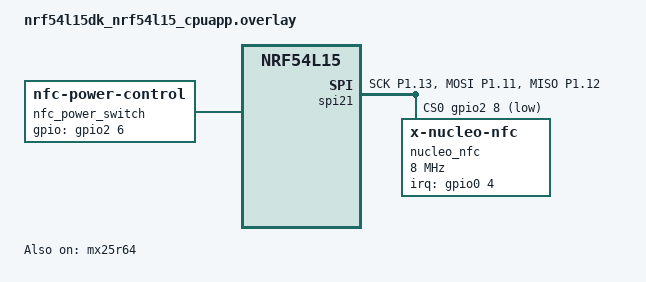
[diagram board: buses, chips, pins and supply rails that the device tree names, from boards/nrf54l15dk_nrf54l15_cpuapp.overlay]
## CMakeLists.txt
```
#
# Copyright (c) 2025 Nordic Semiconductor ASA
#
# SPDX-License-Identifier: LicenseRef-Nordic-5-Clause
#

cmake_minimum_required(VERSION 3.20.0)

find_package(Zephyr REQUIRED HINTS $ENV{ZEPHYR_BASE})
project(door-lock-app)

include(${CMAKE_CURRENT_LIST_DIR}/../../cmake/tsrr250_nxp_overrides.cmake)
tsrr250_apply_nxp_overrides(
  ${CMAKE_CURRENT_LIST_DIR}/../../subsys/aliro/uwb/tsrr250_impl/nxp_overrides
)

if(CONFIG_DOOR_LOCK_CREDENTIAL_ISSUER_CA)
  target_sources(app PRIVATE
    ${ZEPHYR_MBEDTLS_MODULE_DIR}/library/x509.c
    ${ZEPHYR_MBEDTLS_MODULE_DIR}/library/x509_crt.c
    ${ZEPHYR_MBEDTLS_MODULE_DIR}/library/x509_oid.c
  )
  target_include_directories(app PRIVATE
    ${ZEPHYR_MBEDTLS_MODULE_DIR}/include
    ${ZEPHYR_MBEDTLS_MODULE_DIR}/library
    ${ZEPHYR_OBERON_PSA_CRYPTO_MODULE_DIR}/extras
    ${ZEPHYR_OBERON_PSA_CRYPTO_MODULE_DIR}/legacy_sub/include
    ${ZEPHYR_OBERON_PSA_CRYPTO_MODULE_DIR}/legacy_sub/src
  )
endif()

add_subdirectory(src/aliro)

file(GLOB app_sources CONFIGURE_DEPENDS src/*.cpp)
target_sources(app PRIVATE ${app_sources})
target_include_directories(app PRIVATE src)
```

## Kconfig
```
#
# Copyright (c) 2025 Nordic Semiconductor ASA
#
# SPDX-License-Identifier: LicenseRef-Nordic-5-Clause
#

mainmenu "nRF Door Lock and Access Control Add-on"

module = DOOR_LOCK_APP
module-str = NCS_DOOR_LOCK_APP
module-dep = LOG
module-help = Enables nRF Connect SDK Door Lock Application log messages.
source "$(ZEPHYR_BASE)/subsys/logging/Kconfig.template.log_config"

config DOOR_LOCK_CLI
	bool "CLI support"
	default y
	select SHELL
	select REBOOT
	select DOOR_LOCK_ALIRO_READER_STORAGE_SHELL
	select DOOR_LOCK_ALIRO_READER_STORAGE_SHELL_CORE
	help
	  Enable support for Door Lock CLI.

config DOOR_LOCK_RELEASE
    bool "Release configuration"
    help
      In this configuration:
      Aliro stack logs are disabled.
      RFAL NFC driver logs are disabled.
      Device reset automatically on fatal error.

rsource "src/Kconfig"

rsource "Kconfig.defconfig"

# Source BLE defconfig when any BLE feature is enabled
if DOOR_LOCK_BLE_UWB || DOOR_LOCK_DFU_SMP_SERVICE || DOOR_LOCK_NUS_SERVICE
rsource "Kconfig.ble.defconfig"
endif # DOOR_LOCK_BLE_UWB || DOOR_LOCK_DFU_SMP_SERVICE || DOOR_LOCK_NUS_SERVICE

if DOOR_LOCK_DFU_SMP_SERVICE
rsource "Kconfig.dfu.defconfig"
endif # DOOR_LOCK_DFU_SMP_SERVICE

if DOOR_LOCK_WIFI
rsource "Kconfig.wifi.defconfig"
endif # DOOR_LOCK_WIFI

rsource "Kconfig.crypto.defconfig"

source "Kconfig.zephyr"
```

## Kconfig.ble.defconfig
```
#
# Copyright (c) 2025 Nordic Semiconductor ASA
#
# SPDX-License-Identifier: LicenseRef-Nordic-5-Clause
#

config BT
	default y

config BT_PERIPHERAL
	default y

config BT_SMP
	default y

config BT_PHY_UPDATE
	default n

config BT_BUF_ACL_RX_SIZE
	default 502 if DOOR_LOCK_DFU_SMP_SERVICE
	default 271

config BT_BUF_ACL_TX_SIZE
	default 271

config BT_L2CAP_TX_MTU
	default 498 if DOOR_LOCK_DFU_SMP_SERVICE
	default 267

config BT_BUF_ACL_TX_COUNT
	default BT_MAX_CONN if DOOR_LOCK_BLE_UWB

config BT_BUF_ACL_RX_COUNT_EXTRA
	default BT_MAX_CONN if DOOR_LOCK_BLE_UWB

config BT_GATT_DYNAMIC_DB
	default y

config BT_GATT_ENFORCE_SUBSCRIPTION
	default y

config BT_GATT_SERVICE_CHANGED
	default y

config BT_L2CAP_DYNAMIC_CHANNEL
	default y

config BT_CTLR_TX_PWR_DYNAMIC_CONTROL
	default y if !SOC_NRF5340_CPUAPP

config BT_BONDABLE
	default n

config BT_ID_MAX
	default 2 if DOOR_LOCK_BLE_UWB
	default 1

config BT_EXT_ADV
	default y if DOOR_LOCK_BLE_UWB
	default n

config BT_EXT_ADV_MAX_ADV_SET
	default 2 if DOOR_LOCK_BLE_UWB
	default 1

config BT_MAX_CONN
	default 6 if DOOR_LOCK_BLE_UWB && (DOOR_LOCK_NUS_SERVICE || DOOR_LOCK_DFU_SMP_SERVICE)
	default 5 if DOOR_LOCK_BLE_UWB
	default 1
```

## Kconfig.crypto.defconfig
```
#
# Copyright (c) 2026 Nordic Semiconductor ASA
#
# SPDX-License-Identifier: LicenseRef-Nordic-5-Clause
#

config PSA_CRYPTO
	default y

config MBEDTLS_ENABLE_HEAP
	default y

config MBEDTLS_HEAP_SIZE
	default 8192

#   NFC+5xBLE/UWB:      (16+ 5*11) slots ->  72
#   NFC:                9 slots ->  16 (with margin)
config MBEDTLS_PSA_KEY_SLOT_COUNT
	default 72 if DOOR_LOCK_BLE_UWB
	default 16
```

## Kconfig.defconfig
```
#
# Copyright (c) 2025 Nordic Semiconductor ASA
#
# SPDX-License-Identifier: LicenseRef-Nordic-5-Clause
#

config BT_DEVICE_NAME
	default "AliroDL"

config NCS_ALIRO_LIB
	default y

config TRUSTED_STORAGE
	default y

config MBEDTLS_PSA_CRYPTO_STORAGE_C
	default y

choice TRUSTED_STORAGE_BACKEND_AEAD_KEY
	default TRUSTED_STORAGE_BACKEND_AEAD_KEY_HASH_UID if SOC_SERIES_NRF52
	default TRUSTED_STORAGE_BACKEND_AEAD_KEY_DERIVE_FROM_HUK
endchoice

config HW_UNIQUE_KEY_WRITE_ON_CRYPTO_INIT
	default y if (SOC_NRF5340_CPUAPP || SOC_SERIES_NRF54L)

# required by Aliro persistent storage
config FLASH
	default y

config FLASH_MAP
	default y

config NVS
	default y if !SOC_FLASH_NRF_RRAM

config NVS_LOOKUP_CACHE_SIZE
	default 512 if NVS

config NVS_LOOKUP_CACHE_FOR_SETTINGS
	default y if SETTINGS_NVS

config ZMS
	default y if SOC_FLASH_NRF_RRAM

config ZMS_LOOKUP_CACHE_SIZE
	default 512 if SETTINGS_ZMS

config ZMS_LOOKUP_CACHE_FOR_SETTINGS
	default y if SETTINGS_ZMS

config SETTINGS
	default y

config EVENTS
	default y

choice NVS_LOG_LEVEL_CHOICE
	default NVS_LOG_LEVEL_ERR
endchoice

choice ZMS_LOG_LEVEL_CHOICE
	default ZMS_LOG_LEVEL_ERR
endchoice

choice SETTINGS_LOG_LEVEL_CHOICE
	default SETTINGS_LOG_LEVEL_ERR
endchoice

choice LIBC_IMPLEMENTATION
    default PICOLIBC
endchoice

choice POSIX_SYSCONF_IMPL_CHOICE
    default POSIX_SYSCONF_IMPL_MACRO if PICOLIBC
endchoice

config SHELL_CMD_BUFF_SIZE
	# Shell buffer must fit: "reader certificate set " (23 chars) + hex string (2 * cert size)
	# For 512 byte cert: 23 + 1024 = 1047
	default 1047 if DOOR_LOCK_ALIRO_READER_STORAGE_SHELL_CERT
	default 256

config MAIN_STACK_SIZE
	default 4096

config HEAP_MEM_POOL_SIZE
	default 4096

config SYSTEM_WORKQUEUE_STACK_SIZE
	default 2048

config DOOR_LOCK_ALIRO_CRYPTO_UTILS
	default y

config DOOR_LOCK_SETTINGS_UTILS
	default y

config DOOR_LOCK_ALIRO_WORKQUEUE
	default y

config NFC_DRIVER_STM
	default y

configdefault DOOR_LOCK_ALIRO_NFC_TRANSPORT
	default y

configdefault DOOR_LOCK_ALIRO_INTERFACE_IMPL_OS
	default y

configdefault DOOR_LOCK_ALIRO_INTERFACE_IMPL_LOG
	default y

configdefault DOOR_LOCK_ALIRO_INTERFACE_IMPL_UWB
	default y if DOOR_LOCK_BLE_UWB

configdefault DOOR_LOCK_ALIRO_INTERFACE_IMPL_READER
	default y

configdefault DOOR_LOCK_ALIRO_INTERFACE_IMPL_CRYPTO
	default y

configdefault DOOR_LOCK_ALIRO_INTERFACE_IMPL_CI_CERT
	default y

configdefault DOOR_LOCK_ALIRO_INTERFACE_IMPL_CI_CERT_VALIDATION
	default y if DOOR_LOCK_CREDENTIAL_ISSUER_CA

configdefault DOOR_LOCK_ALIRO_INTERFACE_IMPL_OS_BLE_STACK_TIMERS
	default DOOR_LOCK_BLE_UWB_MAX_SESSIONS if DOOR_LOCK_BLE_UWB

config DOOR_LOCK_ALIRO_READER_STORAGE
	default y

configdefault DOOR_LOCK_BLE_UWB_MAX_SESSIONS
	default 1 if DOOR_LOCK_BLE_UWB

configdefault DOOR_LOCK_ALIRO_L2CAP_SERVER_MAX_SESSIONS
	default DOOR_LOCK_BLE_UWB_MAX_SESSIONS if DOOR_LOCK_BLE_UWB

configdefault DOOR_LOCK_ALIRO_BLE_SERVICE_MAX_SESSIONS
	default DOOR_LOCK_BLE_UWB_MAX_SESSIONS if DOOR_LOCK_BLE_UWB

configdefault DOOR_LOCK_BLE_MANAGER
	default y

configdefault DOOR_LOCK_BLE_MANAGER_INIT
	default y
```

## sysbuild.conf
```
#
# Copyright (c) 2026 Nordic Semiconductor
#
# SPDX-License-Identifier: LicenseRef-Nordic-5-Clause
#

SB_CONFIG_MATTER_ADD_ON=n

SB_CONFIG_MERGED_HEX_FILES=y
```

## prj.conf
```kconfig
#
# Copyright (c) 2025 Nordic Semiconductor ASA
#
# SPDX-License-Identifier: LicenseRef-Nordic-5-Clause
#

#
# Aliro
#

CONFIG_NCS_ALIRO=y
CONFIG_DOOR_LOCK_ALIRO_LOCK_SIM=y
CONFIG_DOOR_LOCK_DFU_SMP_SERVICE=y

# Basic system configuration
CONFIG_CPP=y
CONFIG_STD_CPP17=y
CONFIG_REQUIRES_FULL_LIBCPP=y
CONFIG_RESET_ON_FATAL_ERROR=n
CONFIG_ASSERT=y
CONFIG_MPU_STACK_GUARD=y
CONFIG_SYS_HEAP_RUNTIME_STATS=y

# Stack sizes
CONFIG_SYSTEM_WORKQUEUE_STACK_SIZE=3072
CONFIG_SHELL_STACK_SIZE=4096

# Logging
CONFIG_CONSOLE=y
CONFIG_LOG=y
CONFIG_LOG_MODE_DEFERRED=y
CONFIG_LOG_BUFFER_SIZE=4096
CONFIG_DOOR_LOCK_ALIRO_NFC_TRANSPORT_LOG_LEVEL_DBG=y
CONFIG_DOOR_LOCK_ALIRO_UWB_LOG_LEVEL_INF=y
CONFIG_USE_SEGGER_RTT=n
CONFIG_LOG_BACKEND_RTT=n
CONFIG_LOG_BACKEND_SHOW_COLOR=n
CONFIG_DOOR_LOCK_APP_LOG_LEVEL_INF=y
CONFIG_DOOR_LOCK_DFU_SMP_SERVICE_LOG_LEVEL_DBG=y
CONFIG_BT_HCI_CORE_LOG_LEVEL_ERR=y
CONFIG_BT_HCI_DRIVER_LOG_LEVEL_ERR=y

# Disable unused shell features
CONFIG_SHELL_VT100_COLORS=n
CONFIG_SHELL_HISTORY=n
CONFIG_SHELL_WILDCARD=n

# Set shell configuration
CONFIG_SHELL_MINIMAL=n
CONFIG_SHELL_DEVICE_HELPERS=y

# Increase shell buffer sizes
CONFIG_SHELL_BACKEND_SERIAL_RX_RING_BUFFER_SIZE=2048
CONFIG_SHELL_BACKEND_SERIAL_TX_RING_BUFFER_SIZE=1024

# Adjust logs queue size
CONFIG_SHELL_BACKEND_SERIAL_LOG_MESSAGE_QUEUE_SIZE=2048

# Workaround for Murata issue:
# https://github.com/aliro-access-control/aliro-actuator/issues/114
CONFIG_BT_GAP_AUTO_UPDATE_CONN_PARAMS=n

# Suspend devices when the CPU goes into sleep
CONFIG_PM_DEVICE=y
CONFIG_PM_DEVICE_RUNTIME=y

CONFIG_STREAM_FLASH=y
CONFIG_IMG_MANAGER=y

# Try to disable unused RAM blocks to reduce power consumption
CONFIG_RAM_POWER_DOWN_LIBRARY=y
```

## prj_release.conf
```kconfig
#
# Copyright (c) 2025 Nordic Semiconductor ASA
#
# SPDX-License-Identifier: LicenseRef-Nordic-5-Clause
#

#
# Aliro
#

CONFIG_NCS_ALIRO=y
CONFIG_DOOR_LOCK_ALIRO_LOCK_SIM=y
CONFIG_DOOR_LOCK_DFU_SMP_SERVICE=y

CONFIG_NCS_ALIRO_RELEASE=y

CONFIG_DOOR_LOCK_RELEASE=y

# Basic system configuration
CONFIG_CPP=y
CONFIG_STD_CPP17=y
CONFIG_REQUIRES_FULL_LIBCPP=y

# Stack sizes
CONFIG_SYSTEM_WORKQUEUE_STACK_SIZE=3072

#logging
CONFIG_LOG=n
CONFIG_USE_SEGGER_RTT=n

# Workaround for Murata issue:
# https://github.com/aliro-access-control/aliro-actuator/issues/114
CONFIG_BT_GAP_AUTO_UPDATE_CONN_PARAMS=n

# Suspend devices when the CPU goes into sleep
CONFIG_PM_DEVICE=y
CONFIG_PM_DEVICE_RUNTIME=y

# Try to disable unused RAM blocks to reduce power consumption
CONFIG_RAM_POWER_DOWN_LIBRARY=y


CONFIG_ASSERT=n
CONFIG_ASSERT_VERBOSE=n
CONFIG_ASSERT_NO_FILE_INFO=y

CONFIG_RESET_ON_FATAL_ERROR=y

CONFIG_UART_CONSOLE=n
CONFIG_LOG_MODE_MINIMAL=n
CONFIG_SHELL_STACK_SIZE=4096

CONFIG_THREAD_NAME=n
CONFIG_BOOT_BANNER=n
CONFIG_NCS_BOOT_BANNER=n
CONFIG_PRINTK=n
CONFIG_PRINTK_SYNC=n
```

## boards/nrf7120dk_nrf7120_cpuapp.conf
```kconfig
#
# Copyright (c) 2026 Nordic Semiconductor ASA
#
# SPDX-License-Identifier: LicenseRef-Nordic-5-Clause
#

CONFIG_FLASH_MSPI_NOR=y
CONFIG_FLASH_MSPI_NOR_LAYOUT_PAGE_SIZE=4096

# Wi-Fi station
CONFIG_DOOR_LOCK_WIFI=y
CONFIG_WIFI_NRF71_PATCH=y

# Lower System ON idle current: see lib_nrf71_idle_power. Keep the
# default RAM_RETAIN_FULL tier; RAM_RETAIN_USED_ONLY has been observed
# to cause issues on Wi-Fi builds.
CONFIG_NRF71_IDLE_POWER=y
```

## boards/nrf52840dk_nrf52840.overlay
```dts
/*
 * Copyright (c) 2025 Nordic Semiconductor ASA
 *
 * SPDX-License-Identifier: LicenseRef-Nordic-5-Clause
 */

#include <door_lock/common/nrf52840_partitions.dtsi>

&pinctrl {
	spi0_default_alt: spi0_default_alt {
		group1 {
			psels = <NRF_PSEL(SPIM_SCK, 1, 15)>,
				<NRF_PSEL(SPIM_MOSI, 1, 13)>,
				<NRF_PSEL(SPIM_MISO, 1, 14)>;
		};
	};

	spi0_sleep_alt: spi0_sleep_alt {
		group1 {
			psels = <NRF_PSEL(SPIM_SCK, 1, 15)>,
				<NRF_PSEL(SPIM_MOSI, 1, 13)>,
				<NRF_PSEL(SPIM_MISO, 1, 14)>;
			low-power-enable;
		};
	};
};

&spi0 {
	compatible = "nordic,nrf-spi";
	status = "okay";
	cs-gpios = <&gpio1 12 GPIO_ACTIVE_LOW>;

	pinctrl-0 = <&spi0_default_alt>;
	pinctrl-1 = <&spi0_sleep_alt>;
	pinctrl-names = "default", "sleep";

	nucleo_nfc@0 {
		compatible = "x-nucleo-nfc";
		reg = <0>;
		spi-max-frequency = <DT_FREQ_M(8)>;
		spi-cs-setup-delay-ns = <1000>;
		spi-cs-hold-delay-ns = <1000>;
		irq-gpios = <&gpio0 3 GPIO_ACTIVE_HIGH>;
		reset-gpios = <&gpio1 10 (GPIO_ACTIVE_LOW | GPIO_PULL_DOWN)>;
	};
};

&spi1 {
	status = "disabled";
};

&spi2 {
	status = "disabled";
};

&spi3 {
	status = "disabled";
};

/ {
	chosen {
		nordic,pm-ext-flash = &mx25r64;
	};

	aliases {
		lock-sim-indicator = &led1; /* green LED2 on nRF52840DK */
		dfu-smp-button = &button0; /* Button 1 on nRF52840DK */
	};
};

&mx25r64 {
	status = "okay";
};

&gpio0 {
	status = "okay";
	/* Use PORT event rather than GPIOTE IN event, to save power */
	sense-edge-mask = <0x00000008>; /* P0.03 */
};
```

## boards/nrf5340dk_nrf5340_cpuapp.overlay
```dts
/*
 * Copyright (c) 2025 Nordic Semiconductor ASA
 *
 * SPDX-License-Identifier: LicenseRef-Nordic-5-Clause
 */

#include <door_lock/common/nrf5340_cpuapp_partitions.dtsi>

/ {
	chosen {
		nordic,pm-ext-flash = &mx25r64;
	};

	aliases {
		lock-sim-indicator = &led1; /* green LED2 on nRF5340DK */
		dfu-smp-button = &button0; /* Button 1 on nRF5340DK */
	};
};

&pinctrl {
	spi1_default_alt: spi1_default_alt {
		group1 {
			psels = <NRF_PSEL(SPIM_SCK, 1, 15)>,
				<NRF_PSEL(SPIM_MOSI, 1, 13)>,
				<NRF_PSEL(SPIM_MISO, 1, 14)>;
		};
	};

	spi1_sleep_alt: spi1_sleep_alt {
		group1 {
			psels = <NRF_PSEL(SPIM_SCK, 1, 15)>,
				<NRF_PSEL(SPIM_MOSI, 1, 13)>,
				<NRF_PSEL(SPIM_MISO, 1, 14)>;
			low-power-enable;
		};
	};
};

&spi1 {
	compatible = "nordic,nrf-spim";
	status = "okay";
	cs-gpios = <&gpio1 12 GPIO_ACTIVE_LOW>;

	pinctrl-0 = <&spi1_default_alt>;
	pinctrl-1 = <&spi1_sleep_alt>;
	pinctrl-names = "default", "sleep";

	nucleo_nfc@0 {
		compatible = "x-nucleo-nfc";
		reg = <0>;
		spi-max-frequency = <DT_FREQ_M(4)>;
		spi-cs-setup-delay-ns = <1000>;
		spi-cs-hold-delay-ns = <1000>;
		irq-gpios = <&gpio0 4 GPIO_ACTIVE_HIGH>;
		reset-gpios = <&gpio1 10 (GPIO_ACTIVE_LOW | GPIO_PULL_DOWN)>;
	};
};

&mx25r64 {
	status = "okay";

	partitions {
		external_nvs_partition: partition@12f000 {
			label = "external-nvs";
			reg = <0x0012f000 DT_SIZE_K(128)>;
		};
	};
};

&gpio0 {
	status = "okay";
	/* Use PORT event rather than GPIOTE IN event, to save power */
	sense-edge-mask = <0x00000010>; /* P0.04 */
};
```

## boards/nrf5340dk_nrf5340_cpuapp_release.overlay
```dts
/*
 * Copyright (c) 2025 Nordic Semiconductor ASA
 *
 * SPDX-License-Identifier: LicenseRef-Nordic-5-Clause
 */

#include "nrf5340dk_nrf5340_cpuapp.overlay"

&uart1 {
	status = "disabled";
};

&adc {
	status = "disabled";
};

&i2c1 {
	status = "disabled";
};

&pwm0 {
	status = "disabled";
};

&nfct {
	status = "disabled";
};

&usbd {
	status = "disabled";
};

&spi4 {
	status = "disabled";
};
```

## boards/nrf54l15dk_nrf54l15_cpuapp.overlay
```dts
/*
 * Copyright (c) 2025 Nordic Semiconductor ASA
 *
 * SPDX-License-Identifier: LicenseRef-Nordic-5-Clause
 */

#include <door_lock/common/nrf54l15_cpuapp_partitions.dtsi>

/ {
	/* Disable buttons to avoid collision with interrupt and SCK pins for NFC tag reader.
	 * It also allows to use the button with the same label (1) on all supported dev kits.
	 */
	buttons {
		/delete-node/ button_0;
		/delete-node/ button_3;
	};

	leds {
		/delete-node/ led_0;
	};

	aliases {
		/delete-property/ sw0;
		/delete-property/ sw3;
		/delete-property/ led0;
		/delete-property/ mcuboot-led0;
		mcuboot-button0 = &button1;
		lock-sim-indicator = &led2; /* green LED2 on nRF54L15DK */
		dfu-smp-button = &button1;
	};

	nfc_power_switch: nfc_power_switch {
		status = "okay";
		compatible = "nfc-power-control";
		gpios = <&gpio2 6 GPIO_ACTIVE_HIGH>;
	};

	chosen {
		nordic,pm-ext-flash = &mx25r64;
	};
};

&pinctrl {
	spi21_default: spi21_default {
		group1 {
			psels = <NRF_PSEL(SPIM_SCK, 1, 13)>,
				<NRF_PSEL(SPIM_MOSI, 1, 11)>,
				<NRF_PSEL(SPIM_MISO, 1, 12)>;
		};
	};

	spi21_sleep: spi21_sleep {
		group1 {
			psels = <NRF_PSEL(SPIM_SCK, 1, 13)>,
				<NRF_PSEL(SPIM_MOSI, 1, 11)>,
				<NRF_PSEL(SPIM_MISO, 1, 12)>;
			low-power-enable;
		};
	};
};

&spi21 {
	compatible = "nordic,nrf-spim";
	status = "okay";
	cs-gpios = <&gpio2 8 GPIO_ACTIVE_LOW>;

	pinctrl-0 = <&spi21_default>;
	pinctrl-1 = <&spi21_sleep>;
	pinctrl-names = "default", "sleep";

	nucleo_nfc@0 {
		compatible = "x-nucleo-nfc";
		reg = <0>;
		spi-max-frequency = <DT_FREQ_M(8)>;
		spi-cs-setup-delay-ns = <1000>;
		spi-cs-hold-delay-ns = <1000>;
		irq-gpios = <&gpio0 4 GPIO_ACTIVE_HIGH>;
	};
};

&gpio0 {
	status = "okay";
};

&gpio1 {
	status = "okay";
};

&gpio2 {
	status = "okay";
};

&mx25r64 {
	status = "okay";

	partitions {
		external_nvs_partition: partition@165000 {
			label = "external-nvs";
			reg = <0x00165000 DT_SIZE_K(128)>;
		};
	};
};

&gpio0 {
	status = "okay";
	/* Use PORT event rather than GPIOTE IN event, to save power */
	sense-edge-mask = <0x00000010>; /* P0.04 */
};
```

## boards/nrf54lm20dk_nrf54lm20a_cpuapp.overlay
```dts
/*
 * Copyright (c) 2025 Nordic Semiconductor ASA
 *
 * SPDX-License-Identifier: LicenseRef-Nordic-5-Clause
 */

#include <door_lock/common/nrf54lm20_cpuapp_partitions.dtsi>

&pinctrl {
	spi21_default: spi21_default {
		group1 {
			psels = <NRF_PSEL(SPIM_SCK, 1, 13)>,
				<NRF_PSEL(SPIM_MOSI, 1, 11)>,
				<NRF_PSEL(SPIM_MISO, 1, 12)>;
		};
	};

	spi21_sleep: spi21_sleep {
		group1 {
			psels = <NRF_PSEL(SPIM_SCK, 1, 13)>,
				<NRF_PSEL(SPIM_MOSI, 1, 11)>,
				<NRF_PSEL(SPIM_MISO, 1, 12)>;
			low-power-enable;
		};
	};
};

&spi21 {
	compatible = "nordic,nrf-spim";
	status = "okay";
	cs-gpios = <&gpio1 10 GPIO_ACTIVE_LOW>;

	pinctrl-0 = <&spi21_default>;
	pinctrl-1 = <&spi21_sleep>;
	pinctrl-names = "default", "sleep";

	nucleo_nfc@0 {
		compatible = "x-nucleo-nfc";
		reg = <0>;
		spi-max-frequency = <DT_FREQ_M(4)>;
		spi-cs-setup-delay-ns = <1000>;
		spi-cs-hold-delay-ns = <1000>;
		irq-gpios = <&gpio1 14 GPIO_ACTIVE_HIGH>;
	};
};

/ {
	/* Disable button0 to align with the nRF54L15DK.
	 * It also allows to use the button with the same label (1) on all supported dev kits.
	 */
	buttons {
		/delete-node/ button_0;
	};

	leds {
		/delete-node/ led_0;
	};

	aliases {
		/delete-property/ sw0;
		/delete-property/ led0;
		/delete-property/ mcuboot-led0;
		mcuboot-button0 = &button1;
		lock-sim-indicator = &led2; /* green LED2 on nRF54LM20DK */
		dfu-smp-button = &button1;
	};

	chosen {
		nordic,pm-ext-flash = &mx25r64;
	};
};

&gpio0 {
	status = "okay";
};

&gpio1 {
	status = "okay";
};

&mx25r64 {
	status = "okay";

	partitions {
		external_nvs_partition: partition@1E3000 {
			label = "external-nvs";
			reg = <0x001E3000 DT_SIZE_K(128)>;
		};
	};
};

&gpio1 {
	status = "okay";
	/* Use PORT event rather than GPIOTE IN event, to save power */
	sense-edge-mask = <0x00004000>; /* P1.14 */
};
```

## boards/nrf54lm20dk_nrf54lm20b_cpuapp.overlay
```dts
/*
 * Copyright (c) 2026 Nordic Semiconductor ASA
 *
 * SPDX-License-Identifier: LicenseRef-Nordic-5-Clause
 */

#include <door_lock/common/nrf54lm20_cpuapp_partitions.dtsi>

&pinctrl {
	spi21_default: spi21_default {
		group1 {
			psels = <NRF_PSEL(SPIM_SCK, 1, 13)>,
				<NRF_PSEL(SPIM_MOSI, 1, 11)>,
				<NRF_PSEL(SPIM_MISO, 1, 12)>;
		};
	};

	spi21_sleep: spi21_sleep {
		group1 {
			psels = <NRF_PSEL(SPIM_SCK, 1, 13)>,
				<NRF_PSEL(SPIM_MOSI, 1, 11)>,
				<NRF_PSEL(SPIM_MISO, 1, 12)>;
			low-power-enable;
		};
	};
};

&spi21 {
	compatible = "nordic,nrf-spim";
	status = "okay";
	cs-gpios = <&gpio1 10 GPIO_ACTIVE_LOW>;

	pinctrl-0 = <&spi21_default>;
	pinctrl-1 = <&spi21_sleep>;
	pinctrl-names = "default", "sleep";

	nucleo_nfc@0 {
		compatible = "x-nucleo-nfc";
		reg = <0>;
		spi-max-frequency = <DT_FREQ_M(4)>;
		spi-cs-setup-delay-ns = <1000>;
		spi-cs-hold-delay-ns = <1000>;
		irq-gpios = <&gpio1 14 GPIO_ACTIVE_HIGH>;
	};
};

/ {
	/* Disable button0 to align with the nRF54L15DK.
	 * It also allows to use the button with the same label (1) on all supported dev kits.
	 */
	buttons {
		/delete-node/ button_0;
	};

	leds {
		/delete-node/ led_0;
	};

	aliases {
		/delete-property/ sw0;
		/delete-property/ led0;
		/delete-property/ mcuboot-led0;
		mcuboot-button0 = &button1;
		lock-sim-indicator = &led2; /* green LED2 on nRF54LM20DK */
		dfu-smp-button = &button1;
	};

	chosen {
		nordic,pm-ext-flash = &mx25r64;
	};
};

&gpio0 {
	status = "okay";
};

&gpio1 {
	status = "okay";
};

&mx25r64 {
	status = "okay";

	partitions {
		external_nvs_partition: partition@1E3000 {
			label = "external-nvs";
			reg = <0x001E3000 DT_SIZE_K(128)>;
		};
	};
};

&gpio1 {
	status = "okay";
	/* Use PORT event rather than GPIOTE IN event, to save power */
	sense-edge-mask = <0x00004000>; /* P1.14 */
};
```

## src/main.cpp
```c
/*
 * Copyright (c) 2025 Nordic Semiconductor ASA
 *
 * SPDX-License-Identifier: LicenseRef-Nordic-5-Clause
 */

#include "aliro/init.h"
#include "aliro/lock_sim_instance.h"
#include <crypto_utils/crypto_utils.h>
#include <doorlock/utils/utils.h>
#include <zephyr/logging/log.h>

#include <cstdlib>

#ifdef CONFIG_DOOR_LOCK_DFU_SMP_SERVICE
#include <dfu_smp_service/dfu_smp_service.h>
#include <zephyr/bluetooth/gap.h>
#include <zephyr/device.h>
#include <zephyr/drivers/gpio.h>
#endif // CONFIG_DOOR_LOCK_DFU_SMP_SERVICE

#ifdef CONFIG_DOOR_LOCK_NUS_SERVICE
#include <nus_service/nus_service.h>
#include <zephyr/bluetooth/gap.h>
#endif // CONFIG_DOOR_LOCK_NUS_SERVICE

#ifdef CONFIG_DOOR_LOCK_COAP_SERVICE
#include <coap_service/coap_service.h>
#endif // CONFIG_DOOR_LOCK_COAP_SERVICE

#ifdef CONFIG_DOOR_LOCK_BLE_UWB
#include "access_manager.h"
#include "aliro/last_operation.h"
#include "uwb_impl.h"
#include <aliro/aliro.h>
#endif // CONFIG_DOOR_LOCK_BLE_UWB

LOG_MODULE_REGISTER(door_lock_app, CONFIG_DOOR_LOCK_APP_LOG_LEVEL);

namespace {

enum class AdvertisingPriority : uint8_t {
	DFU_SMP,
	NUS,
};

#ifdef CONFIG_DOOR_LOCK_DFU_SMP_SERVICE

#if DT_HAS_ALIAS(dfu_smp_button)

gpio_callback sDfuSmpButtonCb{};

int InitDfuSmpButtonGpio()
{
	constexpr gpio_dt_spec button = GPIO_DT_SPEC_GET(DT_ALIAS(dfu_smp_button), gpios);

	VerifyOrReturnValue(device_is_ready(button.port), -ENODEV, LOG_ERR("SMP button GPIO device not ready"));

	int err = gpio_pin_configure_dt(&button, GPIO_INPUT);
	VerifyOrReturnValue(err == 0, err, LOG_ERR("Failed to configure SMP button GPIO"));

	err = gpio_pin_interrupt_configure_dt(&button, GPIO_INT_EDGE_TO_ACTIVE);
	VerifyOrReturnValue(err == 0, err, LOG_ERR("Failed to configure SMP button interrupt"));

	gpio_init_callback(
		&sDfuSmpButtonCb, [](const device *, gpio_callback *, uint32_t) { DoorLock::DfuSmpService::Toggle(); },
		BIT(button.pin));

	err = gpio_add_callback(button.port, &sDfuSmpButtonCb);
	VerifyOrReturnValue(err == 0, err, LOG_ERR("Failed to add SMP button callback"));

	return 0;
}

#endif // DT_HAS_ALIAS(dfu_smp_button)

int InitDfuSmpButton()
{
#if DT_HAS_ALIAS(dfu_smp_button)
	return InitDfuSmpButtonGpio();
#else
	return 0;
#endif
}

#endif // CONFIG_DOOR_LOCK_DFU_SMP_SERVICE

} // namespace

int main()
{
	auto error = DoorLock::CryptoUtils::Init();
	VerifyOrDie(error == ALIRO_NO_ERROR, "Failed to initialize crypto utils");

#ifdef CONFIG_DOOR_LOCK_BLE_UWB

	constexpr Aliro::Uwb::UltraWideBand::Callbacks uwbCallbacks{
		.mRangingData =
			[](Aliro::Uwb::UltraWideBand::SessionContextHandle sessionContext,
			   const Aliro::UwbRangingData &uwbData) {
				Aliro::AccessManagerInstance().HandleRangingSessionData(sessionContext, uwbData);
			},
		.mRangingSessionStateChanged =
			[](Aliro::Uwb::UltraWideBand::SessionContextHandle sessionContext,
			   Aliro::RangingSessionState state) {
				Aliro::AccessManagerInstance().HandleRangingSessionStateChanged(sessionContext, state);
			},
		.mBleMessageTransmit =
			+[](Aliro::Uwb::UltraWideBand::SessionContextHandle sessionContext, const uint8_t *data,
			    size_t length) {
				Aliro::AliroStack::Instance().SendBleMessage(sessionContext, data, length);
			},
	};

	int uwbError = Aliro::Uwb::UltraWideBandInstance().Init(uwbCallbacks);
	if (uwbError == -ENOSYS) {
		LOG_INF("UWB is not implemented");
	} else if (uwbError != 0) {
		LOG_ERR("Failed to initialize UWB module: %d", uwbError);
	} else if (uwbError == 0) {
		auto *fwVersion = Aliro::Uwb::UltraWideBandInstance().GetFirmwareVersion();
		LOG_INF("UWB FW: %s", fwVersion ? fwVersion : "N/A");
	}

#endif // CONFIG_DOOR_LOCK_BLE_UWB

	int err = AliroInit();
	VerifyOrDie(err == EXIT_SUCCESS, "Failed to initialize Aliro");

#ifdef CONFIG_DOOR_LOCK_DFU_SMP_SERVICE

	DoorLock::DfuSmpService::Init(DoorLock::Utils::ToUnderlying(AdvertisingPriority::DFU_SMP),
				      BT_GAP_ADV_FAST_INT_MIN_2, BT_GAP_ADV_FAST_INT_MAX_2);

	int dfuSmpErr = InitDfuSmpButton();
	VerifyOrDie(dfuSmpErr == 0, "Failed to initialize DFU SMP button");

	DoorLock::DfuSmpService::ConfirmNewImage();

#endif // CONFIG_DOOR_LOCK_DFU_SMP_SERVICE

#ifdef CONFIG_DOOR_LOCK_NUS_SERVICE

	DoorLock::NUSService::RegisterCommand(
		"Unlock",
		[](void *context) {
			LOG_INF("Unlock command received");
#ifdef CONFIG_DOOR_LOCK_BLE_UWB
			Aliro::SetLastOperation(Aliro::OperationSource::Unspecified);
#endif // CONFIG_DOOR_LOCK_BLE_UWB
			Aliro::LockSimInstance().Unlock();
		},
		nullptr);

	DoorLock::NUSService::RegisterCommand(
		"Lock",
		[](void *context) {
			LOG_INF("Lock command received");
#ifdef CONFIG_DOOR_LOCK_BLE_UWB
			Aliro::SetLastOperation(Aliro::OperationSource::Unspecified);
#endif // CONFIG_DOOR_LOCK_BLE_UWB
			Aliro::LockSimInstance().Lock();
		},
		nullptr);

	int nusErr = DoorLock::NUSService::Init();
	VerifyOrDie(nusErr == 0, "Failed to initialize NUS service");
	nusErr = DoorLock::NUSService::Start(DoorLock::Utils::ToUnderlying(AdvertisingPriority::NUS),
					     BT_GAP_ADV_FAST_INT_MIN_2, BT_GAP_ADV_FAST_INT_MAX_2);
	VerifyOrDie(nusErr == 0, "Failed to start NUS service");

#endif // CONFIG_DOOR_LOCK_NUS_SERVICE

#ifdef CONFIG_DOOR_LOCK_COAP_SERVICE
	DoorLock::CoAPService::Init([]() { return Aliro::LockSimInstance().GetState(); },
				    []() { Aliro::LockSimInstance().Unlock(); },
				    []() { Aliro::LockSimInstance().Lock(); });

	DoorLock::CoAPService::Start();
#endif // CONFIG_DOOR_LOCK_COAP_SERVICE

	LOG_INF("Application started");

	return EXIT_SUCCESS;
}
```
